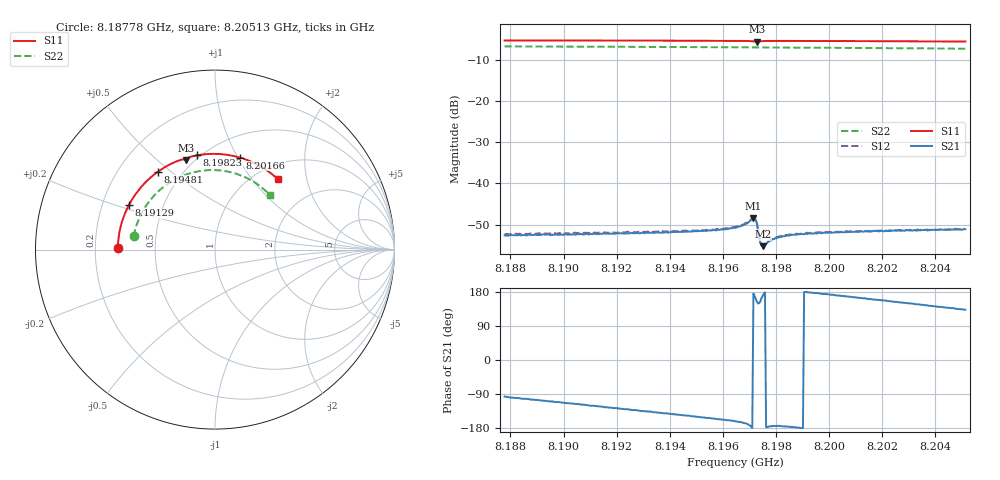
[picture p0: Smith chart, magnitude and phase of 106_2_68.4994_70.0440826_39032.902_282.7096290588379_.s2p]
#  HZ  S  RI  R  50.00
! Rohde & Schwarz Vector Network Analyzer
! Rohde-Schwarz,ZNB20-2Port,1311601062101988,3.16
! Created: UTC 3/20/2024, 5:08:24 PM
! freq[Hz]  re:S11  im:S11  re:S21  im:S21  re:S12  im:S12  re:S22  im:S22
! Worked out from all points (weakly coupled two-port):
!   401 points, 8.18778 GHz to 8.20513 GHz, reference 50 ohm
!   highest |S21| = -48.43 dB at 8.19715 GHz (marker M1); lowest = -55.2 dB at 8.19749 GHz (marker M2)
!   lowest |S11| = -5.6 dB at 8.19728 GHz (marker M3), VSWR 3.20, Z = 22.7 + j31.1 ohm
!   |S11| at or under -10 dB: nowhere
!   |S22| runs from -7.3 to -6.8 dB; largest |S21 - S12| = 0.0002
!   S11 on the Smith chart (normalised r, x): 8.18778 GHz: 0.30, +0.01; 8.19129 GHz: 0.31, +0.22; 8.19481 GHz: 0.37, +0.45; 8.19823 GHz: 0.48, +0.70; 8.20166 GHz: 0.71, +1.02; 8.20513 GHz: 1.26, +1.36
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8.187779e9  -0.5417 0.0115  -0.000261 -0.00233  -0.000357 -0.00242  -0.4528 0.0747
8.189254e9  -0.529 0.114  -0.000732 -0.00229  -0.000788 -0.00233  -0.4308 0.1536
8.190685e9  -0.4982 0.2093  -0.00114 -0.00215  -0.00122 -0.00218  -0.3962 0.2253
8.191292e9  -0.4801 0.2478  -0.00131 -0.00206  -0.00143 -0.00209  -0.3778 0.2534
8.193591e9  -0.3846 0.3775  -0.00192 -0.00167  -0.00203 -0.00165  -0.29 0.3465
8.194805e9  -0.3196 0.4328  -0.00224 -0.00137  -0.00231 -0.00136  -0.2339 0.3846
8.195933e9  -0.2514 0.4744  -0.00255 -0.00109  -0.00262 -0.001  -0.1768 0.412
8.196453e9  -0.2174 0.4903  -0.00275 -0.000917  -0.00283 -0.000836  -0.1494 0.422
8.1968e9  -0.1932 0.499  -0.00307 -0.000755  -0.00317 -0.000654  -0.1305 0.4275
8.197147e9  -0.1659 0.5017  -0.00378 0.000292  -0.00382 0.000461  -0.1114 0.4321
8.197191e9  -0.1632 0.5001  -0.0037 0.000712  -0.00378 0.000854  -0.1091 0.4327
8.197277e9  -0.1623 0.4976  -0.00292 0.00142  -0.0029 0.00159  -0.1045 0.4335
8.197407e9  -0.1609 0.504  -0.00172 0.000806  -0.00173 0.000881  -0.0975 0.4351
8.197451e9  -0.1583 0.5067  -0.00171 0.000506  -0.00167 0.00061  -0.0951 0.4357
8.197494e9  -0.1554 0.5088  -0.00171 0.000322  -0.00173 0.000395  -0.0927 0.4359
8.197581e9  -0.149 0.5122  -0.0018 4.52e-05  -0.00182 0.000108  -0.0878 0.437
8.197884e9  -0.1267 0.5195  -0.00212 -0.000229  -0.00213 -0.000142  -0.0707 0.4396
8.198231e9  -0.102 0.5251  -0.00227 -0.000201  -0.00234 -0.000114  -0.0512 0.4419
8.199359e9  -0.0219 0.5334  -0.00246 0.00012  -0.00248 0.000223  0.0127 0.4423
8.201658e9  0.1389 0.5126  -0.0025 0.000922  -0.00245 0.000994  0.1405 0.415
8.202265e9  0.1795 0.4989  -0.00241 0.00111  -0.00242 0.00122  0.1727 0.4013
8.205127e9  0.3505 0.3922  -0.00189 0.00205  -0.00182 0.00213  0.3056 0.3037
